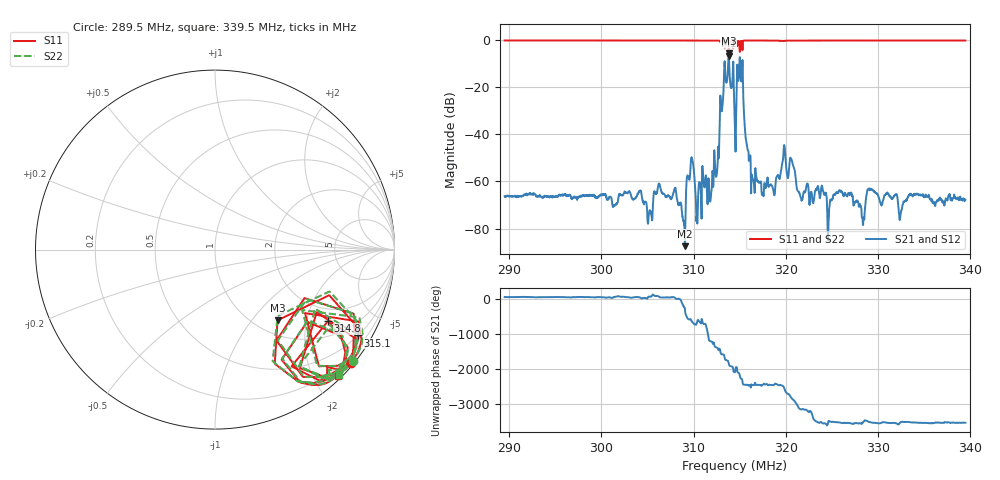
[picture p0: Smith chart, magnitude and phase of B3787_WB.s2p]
! Matrix data file written by TouchstoneData, EPCOS AG
! FILENAME: "B3787_WB.s2p"
! COMMENT: "(LZ18A_1_MB.s2p) EPCOS AG 01.03.2011 09:52:5"
! INFO: nport=2, nfreq=1601
! DATE: "Fri Jan 13 08:56:37 2012"
! USER: "Wilfried Schott"
! port | pin | signal
!  1  |  2  |  IN
!  2  |  5  |  OUT
# MHZ S MA R 50
! freq  magS11 angS11  magS21 angS21  magS12 angS12  magS22 angS22
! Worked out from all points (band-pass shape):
!   1601 points, 289.5 MHz to 339.5 MHz, reference 50 ohm
!   highest |S21| = -6.59 dB at 313.8 MHz (marker M1); lowest = -87.5 dB at 309.1 MHz (marker M2)
!   |S21| within 3 dB of the highest: 313.765 MHz to 313.864 MHz (99.02 kHz wide, 0.0316 % of centre); 314.982 MHz to 315.0541 MHz (72.11 kHz wide, 0.0229 % of centre)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
!   lowest |S11| = -5.6 dB at 313.8 MHz (marker M3), VSWR 3.22, Z = 62.4 - j68 ohm
!   |S11| at or under -10 dB: nowhere
!   |S22| runs from -5.9 to -0.1 dB; largest |S21 - S12| = 0
!   S11 on the Smith chart (normalised r, x): 289.5 MHz: 0.06, -2.76; 314.8 MHz: 1.51, -2.70; 315.1 MHz: 0.50, -3.55; 339.5 MHz: 0.06, -2.36
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289.5  0.9863 -39.8  0.0004868 53.5  0.0004868 53.5  0.9879 -39.1
297.8438  0.9864 -41.0  0.0004745 57.1  0.0004745 57.1  0.988 -40.4
304.125  0.9846 -42.0  0.0006292 44.8  0.0006292 44.8  0.9872 -41.5
305.2812  0.9845 -42.2  0.0002238 68.7  0.0002238 68.7  0.987 -41.7
306.1875  0.985 -42.3  0.0008661 75.9  0.0008661 75.9  0.9855 -41.9
309.0625  0.9829 -43.3  4.228e-05 80.7  4.228e-05 80.7  0.9848 -42.6
309.8125  0.9814 -43.2  0.003213 77.6  0.003213 77.6  0.9794 -42.7
310.3438  0.9817 -43.4  0.0001808 35.8  0.0001808 35.8  0.9837 -42.9
311.9375  0.9827 -44.6  0.0006103 -137.2  0.0006103 -137.2  0.9845 -44.0
312.5938  0.9805 -46.0  0.002063 36.5  0.002063 36.5  0.9832 -45.4
313.1562  0.9735 -48.8  0.04382 -147.1  0.04382 -147.1  0.9728 -48.5
313.8125  0.5262 -48.5  0.468 -37.5  0.468 -37.5  0.5078 -46.6
314.5  0.9778 -42.3  0.01498 61.1  0.01498 61.1  0.98 -41.3
314.75  0.7451 -32.2  0.3033 95.9  0.3033 95.9  0.7689 -33.3
315.0938  0.9298 -30.9  0.2018 -112.8  0.2018 -112.8  0.931 -30.7
316.4688  0.9844 -41.1  0.001086 48.8  0.001086 48.8  0.9862 -40.6
318.6562  0.9798 -42.6  0.0006607 47.1  0.0006607 47.1  0.9798 -42.2
319.8125  0.9612 -42.6  0.005859 -21.6  0.005859 -21.6  0.9523 -42.8
322.8438  0.9812 -43.4  0.0005245 -50.1  0.0005245 -50.1  0.9839 -42.8
328.375  0.9827 -44.3  0.0001203 58.7  0.0001203 58.7  0.9831 -43.8
331.1875  0.9834 -44.7  0.0005328 42.8  0.0005328 42.8  0.9837 -44.3
339.5  0.9832 -46.0  0.0004044 49.5  0.0004044 49.5  0.9826 -45.5
